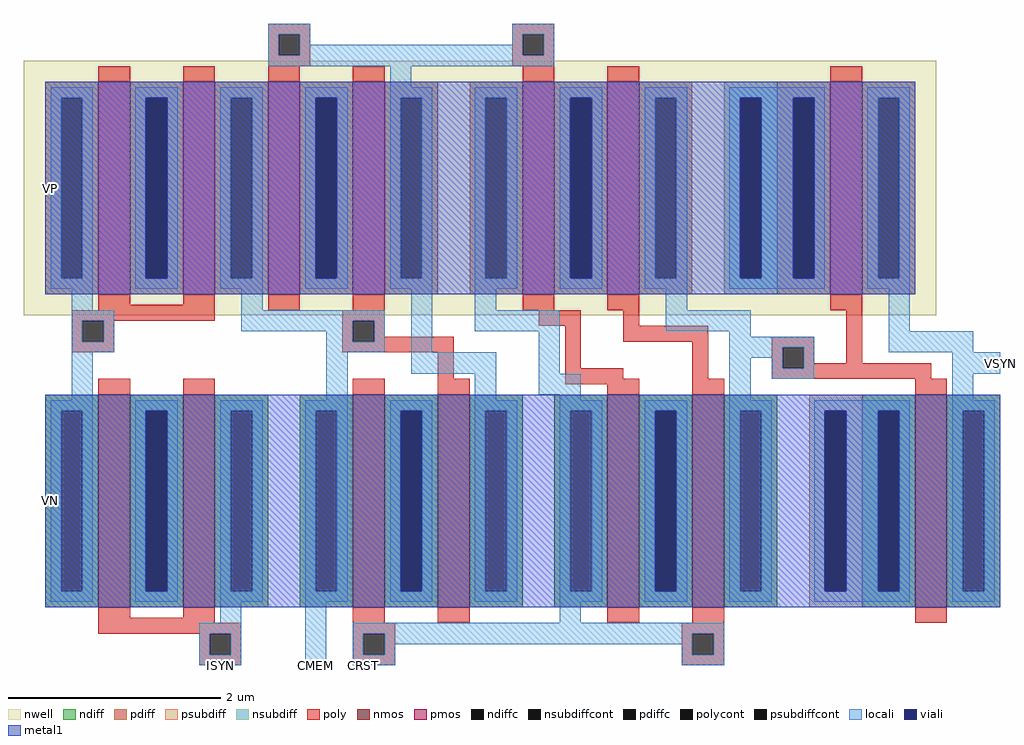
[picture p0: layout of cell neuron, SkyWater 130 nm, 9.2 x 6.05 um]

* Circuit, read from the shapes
.subckt neuron VP VN ISYN VSYN CMEM CRST
XM1 VN ISYN n1 VN sky130_fd_pr__nfet_01v8 w=2 l=0.3
XM2 ISYN ISYN VN VN sky130_fd_pr__nfet_01v8 w=2 l=0.3
XM3 VN CRST CMEM VN sky130_fd_pr__nfet_01v8 w=2 l=0.3
XM4 n2 CMEM VN VN sky130_fd_pr__nfet_01v8 w=2 l=0.3
XM5 VN n2 CRST VN sky130_fd_pr__nfet_01v8 w=2 l=0.3
XM6 n3 CRST VN VN sky130_fd_pr__nfet_01v8 w=2 l=0.3
XM7 VSYN n3 VN VN sky130_fd_pr__nfet_01v8 w=2 l=0.3
XM8 VP n1 n1 VP sky130_fd_pr__pfet_01v8 w=2 l=0.3
XM9 CMEM n1 VP VP sky130_fd_pr__pfet_01v8 w=2 l=0.3
XM10 VP n2 CMEM VP sky130_fd_pr__pfet_01v8 w=2 l=0.3
XM11 n2 CMEM VP VP sky130_fd_pr__pfet_01v8 w=2 l=0.3
XM12 VP n2 CRST VP sky130_fd_pr__pfet_01v8 w=2 l=0.3
XM13 n3 CRST VP VP sky130_fd_pr__pfet_01v8 w=2 l=0.3
XM14 VSYN n3 VP VP sky130_fd_pr__pfet_01v8 w=2 l=0.3
.ends

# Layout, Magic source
magic
tech sky130A
<< nwell >>
rect -95 -25 765 215
<< nmos >>
rect -25 -300 5 -100
rect 55 -300 85 -100
rect 215 -300 245 -100
rect 295 -300 325 -100
rect 455 -300 485 -100
rect 535 -300 565 -100
rect 745 -300 775 -100
<< pmos >>
rect -25 -5 5 195
rect 55 -5 85 195
rect 135 -5 165 195
rect 215 -5 245 195
rect 375 -5 405 195
rect 455 -5 485 195
rect 665 -5 695 195
<< ndiff >>
rect -75 -115 -25 -100
rect -75 -285 -60 -115
rect -40 -285 -25 -115
rect -75 -300 -25 -285
rect 5 -115 55 -100
rect 5 -285 20 -115
rect 40 -285 55 -115
rect 5 -300 55 -285
rect 85 -115 135 -100
rect 85 -285 100 -115
rect 120 -285 135 -115
rect 85 -300 135 -285
rect 165 -115 215 -100
rect 165 -285 180 -115
rect 200 -285 215 -115
rect 165 -300 215 -285
rect 245 -115 295 -100
rect 245 -285 260 -115
rect 280 -285 295 -115
rect 245 -300 295 -285
rect 325 -115 375 -100
rect 325 -285 340 -115
rect 360 -285 375 -115
rect 325 -300 375 -285
rect 405 -115 455 -100
rect 405 -285 420 -115
rect 440 -285 455 -115
rect 405 -300 455 -285
rect 485 -115 535 -100
rect 485 -285 500 -115
rect 520 -285 535 -115
rect 485 -300 535 -285
rect 565 -115 615 -100
rect 565 -285 580 -115
rect 600 -285 615 -115
rect 565 -300 615 -285
rect 695 -115 745 -100
rect 695 -285 710 -115
rect 730 -285 745 -115
rect 695 -300 745 -285
rect 775 -115 825 -100
rect 775 -285 790 -115
rect 810 -285 825 -115
rect 775 -300 825 -285
<< pdiff >>
rect -75 180 -25 195
rect -75 10 -60 180
rect -40 10 -25 180
rect -75 -5 -25 10
rect 5 180 55 195
rect 5 10 20 180
rect 40 10 55 180
rect 5 -5 55 10
rect 85 180 135 195
rect 85 10 100 180
rect 120 10 135 180
rect 85 -5 135 10
rect 165 180 215 195
rect 165 10 180 180
rect 200 10 215 180
rect 165 -5 215 10
rect 245 180 295 195
rect 245 10 260 180
rect 280 10 295 180
rect 245 -5 295 10
rect 325 180 375 195
rect 325 10 340 180
rect 360 10 375 180
rect 325 -5 375 10
rect 405 180 455 195
rect 405 10 420 180
rect 440 10 455 180
rect 405 -5 455 10
rect 485 180 535 195
rect 485 10 500 180
rect 520 10 535 180
rect 485 -5 535 10
rect 615 180 665 195
rect 615 10 630 180
rect 650 10 665 180
rect 615 -5 665 10
rect 695 180 745 195
rect 695 10 710 180
rect 730 10 745 180
rect 695 -5 745 10
<< ndiffc >>
rect -60 -285 -40 -115
rect 20 -285 40 -115
rect 100 -285 120 -115
rect 180 -285 200 -115
rect 260 -285 280 -115
rect 340 -285 360 -115
rect 420 -285 440 -115
rect 500 -285 520 -115
rect 580 -285 600 -115
rect 710 -285 730 -115
rect 790 -285 810 -115
<< pdiffc >>
rect -60 10 -40 180
rect 20 10 40 180
rect 100 10 120 180
rect 180 10 200 180
rect 260 10 280 180
rect 340 10 360 180
rect 420 10 440 180
rect 500 10 520 180
rect 630 10 650 180
rect 710 10 730 180
<< psubdiff >>
rect 645 -115 695 -100
rect 645 -285 660 -115
rect 680 -285 695 -115
rect 645 -300 695 -285
<< nsubdiff >>
rect 565 180 615 195
rect 565 10 580 180
rect 600 10 615 180
rect 565 -5 615 10
<< psubdiffcont >>
rect 660 -285 680 -115
<< nsubdiffcont >>
rect 580 10 600 180
<< poly >>
rect 135 240 175 250
rect 135 220 145 240
rect 165 220 175 240
rect 135 210 175 220
rect 365 240 405 250
rect 365 220 375 240
rect 395 220 405 240
rect 365 210 405 220
rect -25 195 5 210
rect 55 195 85 210
rect 135 195 165 210
rect 215 195 245 210
rect 375 195 405 210
rect 455 195 485 210
rect 665 195 695 210
rect -25 -15 5 -5
rect 55 -15 85 -5
rect -25 -20 85 -15
rect 135 -20 165 -5
rect 215 -20 245 -5
rect 375 -20 405 -5
rect 455 -20 485 -5
rect 665 -20 695 -5
rect -50 -30 85 -20
rect 205 -30 245 -20
rect -50 -50 -40 -30
rect -20 -50 -10 -30
rect -50 -60 -10 -50
rect 205 -50 215 -30
rect 235 -45 245 -30
rect 390 -35 430 -20
rect 235 -50 310 -45
rect 205 -60 310 -50
rect 295 -85 310 -60
rect 415 -75 430 -35
rect 470 -35 485 -20
rect 470 -50 550 -35
rect 415 -85 470 -75
rect 535 -85 550 -50
rect 610 -55 650 -45
rect 610 -75 620 -55
rect 640 -70 650 -55
rect 680 -70 695 -20
rect 640 -75 760 -70
rect 610 -85 760 -75
rect -25 -100 5 -85
rect 55 -100 85 -85
rect 215 -100 245 -85
rect 295 -100 325 -85
rect 415 -90 485 -85
rect 455 -100 485 -90
rect 535 -100 565 -85
rect 745 -100 775 -85
rect -25 -310 5 -300
rect 55 -310 85 -300
rect -25 -315 85 -310
rect 215 -315 245 -300
rect 295 -315 325 -300
rect 455 -315 485 -300
rect 535 -315 565 -300
rect 745 -315 775 -300
rect -25 -325 110 -315
rect 70 -345 80 -325
rect 100 -345 110 -325
rect 70 -355 110 -345
rect 215 -325 255 -315
rect 215 -345 225 -325
rect 245 -345 255 -325
rect 215 -355 255 -345
rect 525 -325 565 -315
rect 525 -345 535 -325
rect 555 -345 565 -325
rect 525 -355 565 -345
<< polycont >>
rect 145 220 165 240
rect 375 220 395 240
rect -40 -50 -20 -30
rect 215 -50 235 -30
rect 620 -75 640 -55
rect 80 -345 100 -325
rect 225 -345 245 -325
rect 535 -345 555 -325
<< locali >>
rect 135 240 175 250
rect 135 220 145 240
rect 165 230 175 240
rect 365 240 405 250
rect 365 230 375 240
rect 165 220 375 230
rect 395 220 405 240
rect 135 210 405 220
rect 250 190 270 210
rect -70 180 -30 190
rect -70 10 -60 180
rect -40 10 -30 180
rect -70 0 -30 10
rect 10 180 50 190
rect 10 10 20 180
rect 40 10 50 180
rect 10 0 50 10
rect 90 180 130 190
rect 90 10 100 180
rect 120 10 130 180
rect 90 0 130 10
rect 170 180 210 190
rect 170 10 180 180
rect 200 10 210 180
rect 170 0 210 10
rect 250 180 290 190
rect 250 10 260 180
rect 280 10 290 180
rect 250 0 290 10
rect -50 -20 -30 0
rect 110 -20 130 0
rect -50 -30 -10 -20
rect -50 -50 -40 -30
rect -20 -50 -10 -30
rect 110 -30 245 -20
rect 110 -40 215 -30
rect -50 -60 -10 -50
rect 190 -50 215 -40
rect 235 -50 245 -30
rect 190 -60 245 -50
rect 270 -60 290 0
rect 330 180 370 190
rect 330 10 340 180
rect 360 10 370 180
rect 330 0 370 10
rect 410 180 450 190
rect 410 10 420 180
rect 440 10 450 180
rect 410 0 450 10
rect 490 180 530 190
rect 490 10 500 180
rect 520 10 530 180
rect 490 0 530 10
rect 570 180 660 190
rect 570 10 580 180
rect 600 10 630 180
rect 650 10 660 180
rect 570 0 660 10
rect 700 180 740 190
rect 700 10 710 180
rect 730 10 740 180
rect 700 0 740 10
rect 330 -20 350 0
rect 510 -20 530 0
rect 330 -40 410 -20
rect 510 -40 590 -20
rect -50 -105 -30 -60
rect 190 -105 210 -60
rect 270 -80 350 -60
rect 330 -105 350 -80
rect 390 -80 410 -40
rect 570 -45 590 -40
rect 720 -40 740 0
rect 570 -55 650 -45
rect 570 -65 620 -55
rect 390 -100 430 -80
rect 410 -105 430 -100
rect 570 -105 590 -65
rect 610 -75 620 -65
rect 640 -75 650 -55
rect 720 -60 800 -40
rect 610 -85 650 -75
rect 780 -80 825 -60
rect 780 -105 800 -80
rect -70 -115 -30 -105
rect -70 -285 -60 -115
rect -40 -285 -30 -115
rect -70 -295 -30 -285
rect 10 -115 50 -105
rect 10 -285 20 -115
rect 40 -285 50 -115
rect 10 -295 50 -285
rect 90 -115 130 -105
rect 90 -285 100 -115
rect 120 -285 130 -115
rect 90 -295 130 -285
rect 170 -115 210 -105
rect 170 -285 180 -115
rect 200 -285 210 -115
rect 170 -295 210 -285
rect 250 -115 290 -105
rect 250 -285 260 -115
rect 280 -285 290 -115
rect 250 -295 290 -285
rect 330 -115 370 -105
rect 330 -285 340 -115
rect 360 -285 370 -115
rect 330 -295 370 -285
rect 410 -115 450 -105
rect 410 -285 420 -115
rect 440 -285 450 -115
rect 410 -295 450 -285
rect 490 -115 530 -105
rect 490 -285 500 -115
rect 520 -285 530 -115
rect 490 -295 530 -285
rect 570 -115 610 -105
rect 570 -285 580 -115
rect 600 -285 610 -115
rect 570 -295 610 -285
rect 650 -115 740 -105
rect 650 -285 660 -115
rect 680 -285 710 -115
rect 730 -285 740 -115
rect 650 -295 740 -285
rect 780 -115 820 -105
rect 780 -285 790 -115
rect 810 -285 820 -115
rect 780 -295 820 -285
rect 90 -315 110 -295
rect 70 -325 110 -315
rect 70 -345 80 -325
rect 100 -345 110 -325
rect 70 -355 110 -345
rect 170 -355 190 -295
rect 410 -315 430 -295
rect 215 -325 565 -315
rect 215 -345 225 -325
rect 245 -335 535 -325
rect 245 -345 255 -335
rect 215 -355 255 -345
rect 525 -345 535 -335
rect 555 -345 565 -325
rect 525 -355 565 -345
<< viali >>
rect 20 10 40 180
rect 180 10 200 180
rect 420 10 440 180
rect 580 10 600 180
rect 630 10 650 180
rect 20 -285 40 -115
rect 260 -285 280 -115
rect 500 -285 520 -115
rect 660 -285 680 -115
rect 710 -285 730 -115
<< metal1 >>
rect -75 180 745 195
rect -75 10 20 180
rect 40 10 180 180
rect 200 10 420 180
rect 440 10 580 180
rect 600 10 630 180
rect 650 10 745 180
rect -75 -5 745 10
rect -75 -115 825 -100
rect -75 -285 20 -115
rect 40 -285 260 -115
rect 280 -285 500 -115
rect 520 -285 660 -115
rect 680 -285 710 -115
rect 730 -285 825 -115
rect -75 -300 825 -285
<< labels >>
rlabel metal1 -70 95 -70 95 7 VP
port 1 w
rlabel metal1 -70 -200 -70 -200 7 VN
port 2 w
rlabel locali 825 -70 825 -70 3 VSYN
port 4 e
rlabel locali 90 -355 90 -355 5 ISYN
port 3 s
rlabel locali 180 -355 180 -355 5 CMEM
port 5 s
rlabel locali 225 -355 225 -355 5 CRST
port 6 s
<< end >>
